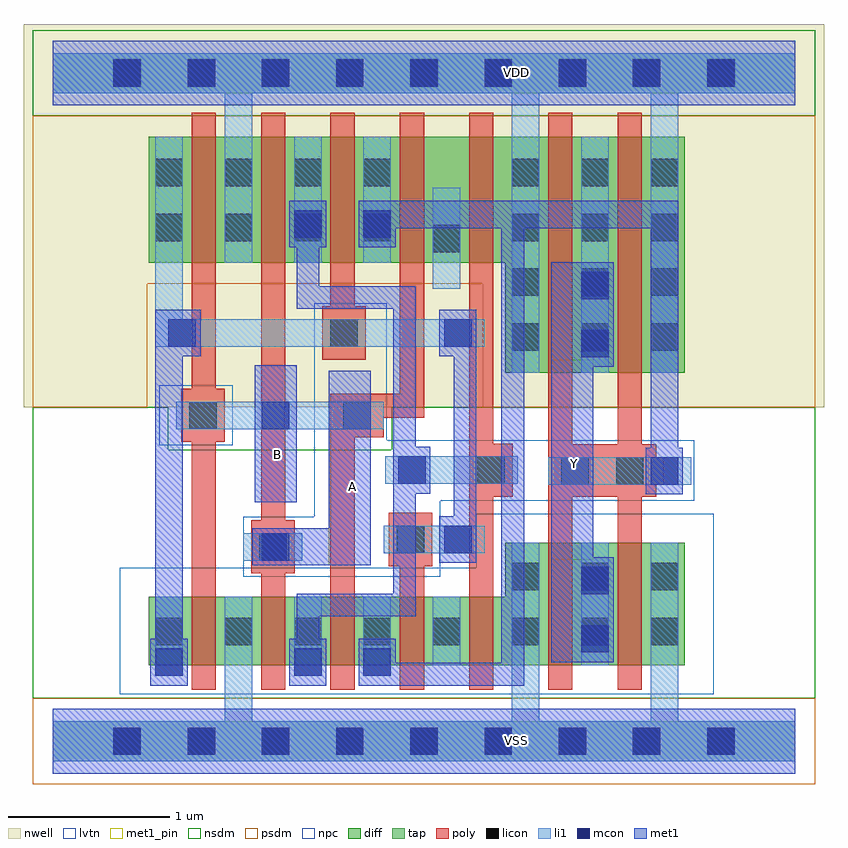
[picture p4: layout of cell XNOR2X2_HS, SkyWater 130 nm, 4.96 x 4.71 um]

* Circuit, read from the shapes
.subckt XNOR2X2_HS A B VDD VSS Y
XM1 VSS B n1 VSS sky130_fd_pr__nfet_01v8_lvt w=0.425 l=0.15
XM2 n2 A VSS VSS sky130_fd_pr__nfet_01v8_lvt w=0.425 l=0.15
XM3 n3 B n2 VSS sky130_fd_pr__nfet_01v8_lvt w=0.425 l=0.15
XM4 n4 n1 n3 VSS sky130_fd_pr__nfet_01v8_lvt w=0.425 l=0.15
XM5 VSS n2 n4 VSS sky130_fd_pr__nfet_01v8_lvt w=0.425 l=0.15
XM6 Y n3 VSS VSS sky130_fd_pr__nfet_01v8_lvt w=0.76 l=0.15 m=2
XM7 VDD B n1 VDD sky130_fd_pr__pfet_01v8 w=0.78 l=0.15
XM8 n2 A VDD VDD sky130_fd_pr__pfet_01v8 w=0.78 l=0.15
XM9 n3 n1 n2 VDD sky130_fd_pr__pfet_01v8 w=0.78 l=0.15
XM10 n5 B n3 VDD sky130_fd_pr__pfet_01v8 w=0.78 l=0.15
XM11 VDD n2 n5 VDD sky130_fd_pr__pfet_01v8 w=0.78 l=0.15
XM12 Y n3 VDD VDD sky130_fd_pr__pfet_01v8 w=1.46 l=0.15 m=2
.ends

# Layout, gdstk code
from math import pi, radians
import gdstk
lib = gdstk.Library(unit=1e-6, precision=1e-09)
def R(c, l, rs):  # rectangles x0, y0, x1, y1
    for r in rs: c.add(gdstk.rectangle(r[:2], r[2:], *l))
def A(c, l, x, y, w, h, nx, ny, dx, dy):  # array of equal rectangles
    R(c, l, [(x+i*dx, y+j*dy, x+i*dx+w, y+j*dy+h) for i in range(nx) for j in range(ny)])
def P(c, l, *ps):  # polygons
    for p in ps: c.add(gdstk.Polygon(p, *l))
nwell = (64, 20)
diff = (65, 20)
tap = (65, 44)
poly = (66, 20)
licon = (66, 44)
li1 = (67, 20)
mcon = (67, 44)
met1_pin = (68, 16)
met1 = (68, 20)
nsdm = (93, 44)
psdm = (94, 20)
npc = (95, 20)
lvtn = (125, 44)

l1m1_c_cdns_758729172865 = lib.new_cell('L1M1_C_CDNS_758729172865')
R(l1m1_c_cdns_758729172865, li1, [(-0.165,-0.085,0.165,0.085)])
R(l1m1_c_cdns_758729172865, mcon, [(-0.085,-0.085,0.085,0.085)])
R(l1m1_c_cdns_758729172865, met1, [(-0.145,-0.115,0.145,0.115)])

pyl1con_c_cdns_758729172 = lib.new_cell('PYL1CON_C_CDNS_758729172862')
R(pyl1con_c_cdns_758729172, poly, [(-0.135,-0.165,0.135,0.165)])
R(pyl1con_c_cdns_758729172, licon, [(-0.085,-0.085,0.085,0.085)])
R(pyl1con_c_cdns_758729172, npc, [(-0.185,-0.185,0.185,0.185)])

l1m1_c_cdns_758729172861 = lib.new_cell('L1M1_C_CDNS_758729172861')
R(l1m1_c_cdns_758729172861, li1, [(-0.085,-0.165,0.085,0.165)])
R(l1m1_c_cdns_758729172861, mcon, [(-0.085,-0.085,0.085,0.085)])
R(l1m1_c_cdns_758729172861, met1, [(-0.115,-0.145,0.115,0.145)])

l1m1_c_cdns_758729172864 = lib.new_cell('L1M1_C_CDNS_758729172864')
R(l1m1_c_cdns_758729172864, li1, [(-0.085,-0.345,0.085,0.345)])
R(l1m1_c_cdns_758729172864, mcon, [(-0.085,-0.265,0.085,-0.095), (-0.085,0.095,0.085,0.265)])
R(l1m1_c_cdns_758729172864, met1, [(-0.115,-0.325,0.115,0.325)])

licondiff_c_cdns_7587291 = lib.new_cell('LICONDIFF_C_CDNS_7587291728611')
R(licondiff_c_cdns_7587291, diff, [(-0.125,-0.145,0.125,0.145)])
R(licondiff_c_cdns_7587291, licon, [(-0.085,-0.085,0.085,0.085), (-0.085,-0.085,0.085,0.085)])

l1m1_c_cdns_758729172860 = lib.new_cell('L1M1_C_CDNS_758729172860')
R(l1m1_c_cdns_758729172860, li1, [(-0.165,-0.085,0.165,0.085)])
R(l1m1_c_cdns_758729172860, mcon, [(-0.085,-0.085,0.085,0.085)])
R(l1m1_c_cdns_758729172860, met1, [(-0.115,-0.145,0.115,0.145)])

l1m1_c_cdns_758729172867 = lib.new_cell('L1M1_C_CDNS_758729172867')
R(l1m1_c_cdns_758729172867, li1, [(-0.085,-0.085,0.085,0.165)])
R(l1m1_c_cdns_758729172867, mcon, [(-0.085,-0.085,0.085,0.085)])
R(l1m1_c_cdns_758729172867, met1, [(-0.115,-0.145,0.115,0.145)])

c_pyl1con_c_cdns_758729172 = lib.new_cell('PYL1CON_C_CDNS_7587291728616')
R(c_pyl1con_c_cdns_758729172, poly, [(-0.165,-0.135,0.165,0.135)])
R(c_pyl1con_c_cdns_758729172, licon, [(-0.085,-0.085,0.085,0.085)])
R(c_pyl1con_c_cdns_758729172, npc, [(-0.185,-0.185,0.185,0.185)])

c_l1m1_c_cdns_758729172861 = lib.new_cell('L1M1_C_CDNS_7587291728617')
R(c_l1m1_c_cdns_758729172861, li1, [(-0.085,-0.06,0.085,0.19)])
R(c_l1m1_c_cdns_758729172861, mcon, [(-0.085,-0.06,0.085,0.11)])
R(c_l1m1_c_cdns_758729172861, met1, [(-0.115,-0.12,0.115,0.17)])

xnor2x2_hs = lib.new_cell('XNOR2X2_HS')
R(xnor2x2_hs, nwell, [(-0.18,2.07,4.78,4.445)])
P(xnor2x2_hs, diff, [(3.915,3.745),(0.595,3.745),(0.595,2.965),(2.805,2.965),(2.805,2.285),(3.915,2.285)],
  [(3.915,1.23),(2.805,1.23),(2.805,0.895),(0.595,0.895),(0.595,0.47),(3.915,0.47)])
R(xnor2x2_hs, poly, [(0.86,0.32,1.01,3.895), (1.29,0.32,1.44,3.895), (2.15,0.32,2.3,1.25), (2.58,0.32,2.73,3.895), (1.72,2.6,1.87,3.895)])
P(xnor2x2_hs, poly, [(2.3,3.895),(2.15,3.895),(2.15,2.155),(1.72,2.155),(1.72,0.32),(1.87,0.32),(1.87,2.005),(2.3,2.005)],
  [(3.79,1.76),(3.74,1.76),(3.74,1.84),(3.65,1.84),(3.65,3.895),(3.5,3.895),(3.5,1.84),(3.22,1.84),(3.22,3.895),(3.07,3.895),(3.07,0.32),(3.22,0.32),(3.22,1.515),(3.5,1.515),(3.5,0.32),(3.65,0.32),(3.65,1.515),(3.74,1.515),(3.74,1.59),(3.79,1.59)])
A(xnor2x2_hs, licon, 0.375, -0.085, 0.17, 0.17, 9, 2, 0.46, 4.14)
A(xnor2x2_hs, licon, 0.635, 0.595, 0.17, 0.17, 4, 2, 0.43, 2.505)
A(xnor2x2_hs, licon, 2.845, 0.595, 0.17, 0.17, 3, 2, 0.43, 0.34)
A(xnor2x2_hs, licon, 2.845, 2.42, 0.17, 0.17, 3, 4, 0.43, 0.34)
A(xnor2x2_hs, licon, 0.635, 3.44, 0.17, 0.17, 4, 1, 0.43, 0)
R(xnor2x2_hs, li1, [(0.635,0.47,0.805,0.895), (1.495,0.47,1.665,0.895), (1.925,0.47,2.095,0.895), (3.275,0.47,3.445,1.23), (3.275,2.285,3.445,3.745), (1.495,2.965,1.665,3.745), (1.925,2.965,2.095,3.745)])
P(xnor2x2_hs, li1, [(2.395,2.615),(0.805,2.615),(0.805,3.745),(0.635,3.745),(0.635,2.445),(2.395,2.445)],
  [(4.6,4.265),(0,4.265),(0,4.015),(1.065,4.015),(1.065,2.965),(1.235,2.965),(1.235,4.015),(2.845,4.015),(2.845,2.285),(3.015,2.285),(3.015,4.015),(3.705,4.015),(3.705,2.285),(3.875,2.285),(3.875,4.015),(4.6,4.015)],
  [(4.6,0.125),(3.875,0.125),(3.875,1.23),(3.705,1.23),(3.705,0.125),(3.015,0.125),(3.015,1.23),(2.845,1.23),(2.845,0.125),(1.235,0.125),(1.235,0.895),(1.065,0.895),(1.065,0.125),(0,0.125),(0,-0.125),(4.6,-0.125)])
A(xnor2x2_hs, mcon, 0.375, -0.085, 0.17, 0.17, 9, 2, 0.46, 4.14)
R(xnor2x2_hs, met1_pin, [(1.71,1.09,1.97,2.295), (3.09,1.125,3.35,2.365), (1.25,1.48,1.51,2.33)])
P(xnor2x2_hs, met1, [(1.97,2.295),(1.71,2.295),(1.71,1.32),(1.38,1.32),(1.38,1.09),(1.97,1.09)],
  [(3.875,3.35),(1.94,3.35),(1.94,3.18),(2.78,3.18),(2.78,0.485),(2,0.485),(2,0.345),(2.92,0.345),(2.92,3.18),(3.705,3.18),(3.705,1.675),(3.875,1.675)])
R(xnor2x2_hs, nsdm, [(-0.125,3.875,4.725,4.405)])
P(xnor2x2_hs, nsdm, [(4.725,2.07),(2.1,2.07),(2.1,1.805),(0.715,1.805),(0.715,2.07),(-0.125,2.07),(-0.125,0.265),(4.725,0.265)])
R(xnor2x2_hs, psdm, [(-0.125,-0.265,4.725,0.265)])
P(xnor2x2_hs, psdm, [(4.725,3.875),(-0.125,3.875),(-0.125,2.07),(0.585,2.07),(0.585,2.835),(2.665,2.835),(2.665,2.07),(4.725,2.07)])
R(xnor2x2_hs, npc, [(0.66,1.835,1.03,2.205)])
P(xnor2x2_hs, npc, [(3.975,1.865),(2.07,1.865),(2.07,2.715),(1.62,2.715),(1.62,1.39),(1.18,1.39),(1.18,1.02),(2.4,1.02),(2.4,1.49),(3.975,1.49)])
P(xnor2x2_hs, lvtn, [(4.095,1.41),(2.625,1.41),(2.625,1.075),(0.415,1.075),(0.415,0.29),(4.095,0.29)])
xnor2x2_hs.add(gdstk.FlexPath([(2.44,2.805),(2.44,3.43)], 0.17, ends="flush", simple_path=True, layer=67, datatype=20))  # li1
xnor2x2_hs.add(gdstk.FlexPath([(2.44,0.47),(2.44,0.895)], 0.17, ends="flush", simple_path=True, layer=67, datatype=20))  # li1
xnor2x2_hs.add(gdstk.FlexPath([(3.07,1.675),(3.74,1.675)], 0.17, ends="flush", simple_path=True, layer=67, datatype=20))  # li1
xnor2x2_hs.add(gdstk.FlexPath([(2.675,1.25),(2.05,1.25)], 0.17, ends="flush", simple_path=True, layer=67, datatype=20))  # li1
xnor2x2_hs.add(gdstk.FlexPath([(2.05,2.02),(0.765,2.02)], 0.17, ends="flush", simple_path=True, layer=67, datatype=20))  # li1
xnor2x2_hs.add(gdstk.FlexPath([(2.06,1.68),(2.88,1.68)], 0.17, ends="flush", simple_path=True, layer=67, datatype=20))  # li1
xnor2x2_hs.add(gdstk.FlexPath([(1.18,1.205),(1.53,1.205)], 0.17, ends="flush", simple_path=True, layer=67, datatype=20))  # li1
xnor2x2_hs.add(gdstk.FlexPath([(0,4.14),(4.6,4.14)], 0.4, ends="flush", simple_path=True, layer=68, datatype=20))  # met1
xnor2x2_hs.add(gdstk.FlexPath([(0,0),(4.6,0)], 0.4, ends="flush", simple_path=True, layer=68, datatype=20))  # met1
xnor2x2_hs.add(gdstk.FlexPath([(1.58,3.205),(1.58,2.75),(2.18,2.75),(2.18,0.845),(1.58,0.845),(1.58,0.465)], 0.14, ends="flush", simple_path=True, layer=68, datatype=20))  # met1
xnor2x2_hs.add(gdstk.FlexPath([(2.555,1.25),(2.555,2.53)], 0.14, ends="flush", simple_path=True, layer=68, datatype=20))  # met1
xnor2x2_hs.add(gdstk.FlexPath([(0.72,2.675),(0.72,0.345)], 0.17, ends="flush", simple_path=True, layer=68, datatype=20))  # met1
xnor2x2_hs.add(gdstk.FlexPath([(3.22,0.49),(3.22,2.97)], 0.26, ends="flush", simple_path=True, layer=68, datatype=20))  # met1
xnor2x2_hs.add(gdstk.FlexPath([(1.38,1.48),(1.38,2.33)], 0.26, ends="flush", simple_path=True, layer=68, datatype=20))  # met1
xnor2x2_hs.add(gdstk.FlexPath([(0,4.14),(4.6,4.14)], 0.25, ends="flush", simple_path=True, layer=65, datatype=44))  # tap
xnor2x2_hs.add(gdstk.FlexPath([(0,0),(4.6,0)], 0.25, ends="flush", simple_path=True, layer=65, datatype=44))  # tap
xnor2x2_hs.add(gdstk.FlexPath([(0,4.14),(4.6,4.14)], 0.4, ends="flush", simple_path=True, layer=68, datatype=16))  # met1_pin
xnor2x2_hs.add(gdstk.FlexPath([(0,0),(4.6,0)], 0.4, ends="flush", simple_path=True, layer=68, datatype=16))  # met1_pin
xnor2x2_hs.add(gdstk.Reference(l1m1_c_cdns_758729172865, (1.38,1.205), x_reflection=True))
xnor2x2_hs.add(gdstk.Reference(pyl1con_c_cdns_758729172, (3.575,1.675), rotation=3*pi/2, x_reflection=True))
xnor2x2_hs.add(gdstk.Reference(pyl1con_c_cdns_758729172, (3.235,1.675), rotation=3*pi/2, x_reflection=True))
xnor2x2_hs.add(gdstk.Reference(pyl1con_c_cdns_758729172, (1.365,1.205), x_reflection=True))
xnor2x2_hs.add(gdstk.Reference(pyl1con_c_cdns_758729172, (2.715,1.68), x_reflection=True))
xnor2x2_hs.add(gdstk.Reference(pyl1con_c_cdns_758729172, (0.93,2.02), x_reflection=True))
xnor2x2_hs.add(gdstk.Reference(pyl1con_c_cdns_758729172, (2.215,1.25), x_reflection=True))
xnor2x2_hs.add(gdstk.Reference(pyl1con_c_cdns_758729172, (1.805,2.53), x_reflection=True))
xnor2x2_hs.add(gdstk.Reference(l1m1_c_cdns_758729172861, (1.58,3.205)))
xnor2x2_hs.add(gdstk.Reference(l1m1_c_cdns_758729172861, (2.01,3.205)))
xnor2x2_hs.add(gdstk.Reference(l1m1_c_cdns_758729172864, (3.36,2.645)))
xnor2x2_hs.add(gdstk.Reference(l1m1_c_cdns_758729172864, (3.36,0.815)))
xnor2x2_hs.add(gdstk.Reference(licondiff_c_cdns_7587291, (2.44,3.115)))
xnor2x2_hs.add(gdstk.Reference(licondiff_c_cdns_7587291, (2.44,0.68)))
xnor2x2_hs.add(gdstk.Reference(l1m1_c_cdns_758729172860, (1.38,2.02), x_reflection=True))
xnor2x2_hs.add(gdstk.Reference(l1m1_c_cdns_758729172860, (0.8,2.53)))
xnor2x2_hs.add(gdstk.Reference(l1m1_c_cdns_758729172860, (2.225,1.68)))
xnor2x2_hs.add(gdstk.Reference(l1m1_c_cdns_758729172860, (2.51,2.53)))
xnor2x2_hs.add(gdstk.Reference(l1m1_c_cdns_758729172860, (2.51,1.25)))
xnor2x2_hs.add(gdstk.Reference(l1m1_c_cdns_758729172860, (3.79,1.675)))
xnor2x2_hs.add(gdstk.Reference(l1m1_c_cdns_758729172867, (1.58,0.49)))
xnor2x2_hs.add(gdstk.Reference(l1m1_c_cdns_758729172867, (2.01,0.49)))
xnor2x2_hs.add(gdstk.Reference(c_pyl1con_c_cdns_758729172, (1.885,2.02), x_reflection=True))
xnor2x2_hs.add(gdstk.Reference(c_l1m1_c_cdns_758729172861, (0.72,0.465)))
xnor2x2_hs.add(gdstk.Label('VDD', (2.875,4.145), layer=68, texttype=5))
xnor2x2_hs.add(gdstk.Label('B', (1.395,1.775), layer=68, texttype=5))
xnor2x2_hs.add(gdstk.Label('Y', (3.235,1.72), layer=68, texttype=5))
xnor2x2_hs.add(gdstk.Label('A', (1.855,1.58), layer=68, texttype=5))
xnor2x2_hs.add(gdstk.Label('VSS', (2.875,0.005), layer=68, texttype=5))

lib.write_gds('XNOR2X2_HS.gds')
